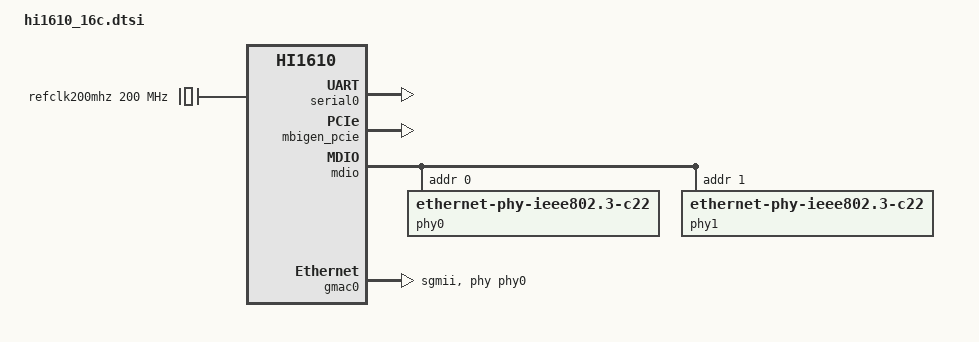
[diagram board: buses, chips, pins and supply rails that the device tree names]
/**
 * dtsi file for Hisilicon Hi1610 16core Soc
 *
 * Copyright (C) 2014,2015 Hisilicon Ltd.
 *
 * This program is free software; you can redistribute it and/or modify
 * it under the terms of the GNU General Public License version 2 as
 * publishhed by the Free Software Foundation.
 *
 */

/ {
	#address-cells = <2>;
	#size-cells = <2>;
	compatible = "hisilicon,hi1610_16c-EVB", "hisilicon,hi1610";
	interrupt-parent = <&gic>;

	cpus {
		#address-cells = <1>;
		#size-cells = <0>;

		cpu@20000 {
			device_type = "cpu";
			compatible = "arm,armv8";
			reg = <0x20000>;
			enable-method = "spin-table";
			cpu-release-addr = <0x0 0xfff8>;
		};

		cpu@20001 {
			device_type = "cpu";
			compatible = "arm,armv8";
			reg = <0x20001>;
			enable-method = "spin-table";
			cpu-release-addr = <0x0 0xfff8>;
		};

		cpu@20002 {
			device_type = "cpu";
			compatible = "arm,armv8";
			reg = <0x20002>;
			enable-method = "spin-table";
			cpu-release-addr = <0x0 0xfff8>;
		};

		cpu@20003 {
			device_type = "cpu";
			compatible = "arm,armv8";
			reg = <0x20003>;
			enable-method = "spin-table";
			cpu-release-addr = <0x0 0xfff8>;
		};

		cpu@20100 {
			device_type = "cpu";
			compatible = "arm,armv8";
			reg = <0x20100>;
			enable-method = "spin-table";
			cpu-release-addr = <0x0 0xfff8>;
		};

		cpu@20101 {
			device_type = "cpu";
			compatible = "arm,armv8";
			reg = <0x20101>;
			enable-method = "spin-table";
			cpu-release-addr = <0x0 0xfff8>;
		};

		cpu@20102 {
			device_type = "cpu";
			compatible = "arm,armv8";
			reg = <0x20102>;
			enable-method = "spin-table";
			cpu-release-addr = <0x0 0xfff8>;
		};

		cpu@20103 {
			device_type = "cpu";
			compatible = "arm,armv8";
			reg = <0x20103>;
			enable-method = "spin-table";
			cpu-release-addr = <0x0 0xfff8>;
		};

		cpu@20200 {
			device_type = "cpu";
			compatible = "arm,armv8";
			reg = <0x20200>;
			enable-method = "spin-table";
			cpu-release-addr = <0x0 0xfff8>;
		};

		cpu@20201 {
			device_type = "cpu";
			compatible = "arm,armv8";
			reg = <0x20201>;
			enable-method = "spin-table";
			cpu-release-addr = <0x0 0xfff8>;
		};

		cpu@20202 {
			device_type = "cpu";
			compatible = "arm,armv8";
			reg = <0x20202>;
			enable-method = "spin-table";
			cpu-release-addr = <0x0 0xfff8>;
		};

		cpu@20203 {
			device_type = "cpu";
			compatible = "arm,armv8";
			reg = <0x20203>;
			enable-method = "spin-table";
			cpu-release-addr = <0x0 0xfff8>;
		};

		cpu@20300 {
			device_type = "cpu";
			compatible = "arm,armv8";
			reg = <0x20300>;
			enable-method = "spin-table";
			cpu-release-addr = <0x0 0xfff8>;
		};

		cpu@20301 {
			device_type = "cpu";
			compatible = "arm,armv8";
			reg = <0x20301>;
			enable-method = "spin-table";
			cpu-release-addr = <0x0 0xfff8>;
		};

		cpu@20302 {
			device_type = "cpu";
			compatible = "arm,armv8";
			reg = <0x20302>;
			enable-method = "spin-table";
			cpu-release-addr = <0x0 0xfff8>;
		};

		cpu@20303 {
			device_type = "cpu";
			compatible = "arm,armv8";
			reg = <0x20303>;
			enable-method = "spin-table";
			cpu-release-addr = <0x0 0xfff8>;
		};

	};

	gic: interrupt-controller@6d000000 {
		compatible = "hisilicon,gic-v3";
		#interrupt-cells = <3>;
		#address-cells = <2>;
		#size-cells = <2>;
		ranges;
		status-clear-fixup;
		interrupt-controller;
		#redistributor-regions = <1>;
		redistributor-stride = <0x0 0x30000>;
		reg = <0x0 0x6d000000 0x0 0x10000>,	/* GICD */
		      <0x0 0x6d100000 0x0 0x300000>,	/* GICR c*/
		      <0x0 0xfe000000 0x0 0x10000>,	/* GICC */
		      <0x0 0xfe010000 0x0 0x10000>,     /* GICH */
		      <0x0 0xfe020000 0x0 0x10000>;     /* GICV */
		interrupts = <1 9 0xff04>;

		its_pc: interrupt-controller@6c000000 {
			compatible = "arm,gic-v3-its";
			msi-controller;
			reg = <0x0 0x6c000000 0x0 0x1000000>;
		};

		its_dsa: interrupt-controller@0xc6000000 {
			compatible = "arm,gic-v3-its";
			msi-controller;
			reg = <0x0 0xc6000000 0x0 0x1000000>;
		};
	};

	smmu_pcie {
		compatible = "arm,smmu-v3";
		reg = <0x0 0xa0040000 0x0 0x20000>;
		interrupt-parent  = <&mbigen_pcie>;
		interrupts = <0x40b0c 3 39 7>,
			     <0x40b0c 3 40 7>,
			     <0x40b0c 3 41 7>;
		interrupt-names = "eventq", "gerror", "priq";
		#iommu-cells = <1>;
		dma-coherent;
		smmu-cb-memtype = <0x0 0x1>,
				<0x40000 0x1>,
				<0x40040 0x1>;
	};

	smmu_dsa {
		compatible = "arm,smmu-v3";
		reg = <0x0 0xc0040000 0x0 0x20000>;
		interrupt-parent  = <&mbigen_dsa>;
		interrupts = <0x40b20 3 78 6>,
			     <0x40b20 3 79 6>,
			     <0x40b20 3 80 6>;
		interrupt-names = "eventq", "gerror", "priq";
		#iommu-cells = <1>;
		dma-coherent;
		smmu-cb-memtype = <0x0 0x1>,
				<0x100 0x1>;
	};


	smmu_alg {
		compatible = "arm,smmu-v3";
		reg = <0x0 0xd0040000 0x0 0x20000>;
		interrupt-parent  = <&mbigen_alg>;
		interrupts = <0x40b1b 3 29 6>,
			     <0x40b1b 3 30 6>,
			     <0x40b1b 3 31 6>;
		interrupt-names = "eventq", "gerror", "priq";
		#iommu-cells = <1>;
		dma-coherent;
		smmu-cb-memtype = <0x0 0x1>;
	};

	timer {
		compatible = "arm,armv8-timer";
		interrupts = <1 13 4>,
			     <1 14 4>,
			     <1 11 4>,
			     <1 10 4>;
	};

	pmu {
		compatible = "arm,armv8-pmuv3";
		interrupts = <1 7 4>;
	};

	soc {
		compatible = "simple-bus";
		#address-cells = <2>;
		#size-cells = <2>;
		ranges;

		refclk200mhz: refclk200mhz {
			compatible = "fixed-clock";
			#clock-cells = <0>;
			clock-frequency = <200000000>;
		};

		serial0: uart@60300000 {
			compatible = "snps,dw-apb-uart";
			reg = <0x0 0x60300000 0x0 0x10000>;
			interrupts = <0 317 4>;
			clocks = <&refclk200mhz>;
			clock-names = "apb_pclk";
			reg-shift = <2>;
		};

		mbigen_pc: interrupt-controller@6c030000 {
			compatible = "hisilicon,mbi-gen";
			msi-parent = <&its_pc>;
			interrupt-controller;
			#interrupt-cells = <2>;
			reg = <0x0 0x6c030000 0x0 0x10000>;
		};

		mbigen_dsa: interrupt-controller@c0080000 {
			compatible = "hisilicon,mbigen-v2";
			msi-parent = <&its_dsa>;
			interrupt-controller;
			#interrupt-cells = <4>;
			reg = <0x0 0xc0080000 0x0 0x10000>;
		};

		mbigen_pcie: interrupt-controller@a0080000 {
			compatible = "hisilicon,mbigen-v2";
			msi-parent = <&its_dsa>;
			interrupt-controller;
			#interrupt-cells = <4>;
			reg = <0x0 0xa0080000 0x0 0x10000>;
		};

		mbigen_alg: interrupt-controller@d0080000 {
			compatible = "hisilicon,mbigen-v2";
			msi-parent = <&its_dsa>;
			interrupt-controller;
			#interrupt-cells = <4>;
			reg = <0x0 0xd0080000 0x0 0x10000>;
		};

		peri_c_subctrl: sub_ctrl_c@60000000 {
			compatible = "hisilicon,peri-c-subctrl", "syscon";
			reg = <0 0x60000000 0 0x10000>;
		};

		mdio {
			compatible = "hisilicon,hns-mdio";
			reg = <0x0 0x603c0000 0x0 0x1000>;
			subctrl_vbase = <&peri_c_subctrl>;
			#address-cells = <0x1>;
			#size-cells = <0x0>;

			phy0: ethernet-phy@0 {
				compatible = "ethernet-phy-ieee802.3-c22";
				reg = <0>;
			};

			phy1: ethernet-phy@1 {
				compatible = "ethernet-phy-ieee802.3-c22";
				reg = <1>;
			};
		};

		ppe: ppe@c2000000 {
			compatible = "hisilicon, hip05-ppe", "syscon";
			reg = <0 0xc2000000 0 0x1000>;
		};

		ge: ge@c2001000 {
			compatible = "hisilicon, hip05-ge", "syscon";
			reg = <0 0xc2001000 0 0x1000>;
		};

		gmac0: ethernet@c2080000 {
			compatible = "hisilicon, hip05-mac";
			#address-cells = <1>;
			#size-cells = <0>;
			reg = <0 0xc2080000 0 0x20000>,
			      <0 0xc0000000 0 0x1000>;
			interrupt-parent  = <&mbigen_dsa>;
			interrupts = <0x40b1c 9 0 6>,
				     <0x40b1c 9 1 6>;

			phy-mode = "sgmii";
			mac-address = [11 11 11 11 11 11];
			phy-handle = <&phy0>;
			ppe-handle = <&ppe 0>;
			ge-handle = <&ge 10 1>;
			dma-coherent;
		};
	};
};
